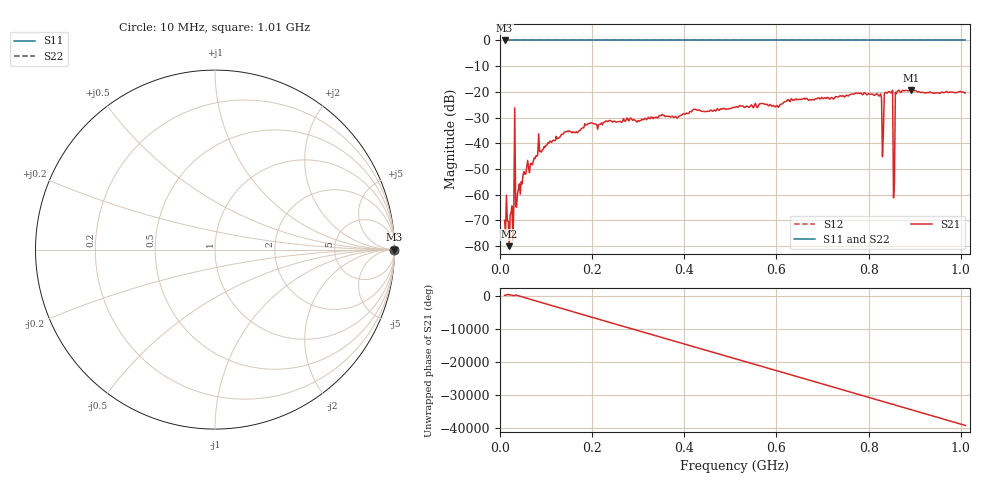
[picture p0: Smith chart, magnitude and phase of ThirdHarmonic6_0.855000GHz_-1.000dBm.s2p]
! 8/16/2025 4:17:39 AM
! C:\ANRITSUVNA\TEMP\TEMP.S2P
! CHANNEL.1
! TR.MEASUREMENT
! RAW.DATA
! RF.CORRECTION.OFF
! AVERAGING.OFF
! IF.BANDWIDTH: 5KHZ
! SWEEPTYPE:  FREQ.SWEEP(Linear)
! Reference Plane Port Info
! PORT:  PORT1  PORT2
! DISTANCE:  0  m  0  m
! TIME:  0  s  0  s
! PHASE.OFFSET:  0  deg.  0  deg.
! LOSS:  0  dB  0  dB
! REF.LOSS:  0  dB  0  dB
! REF.FREQ:  0  Hz  0  Hz
! Power Info
! POWER:  -20  dBm  -20  dBm
! EFF.POWER:  -20  dBm  -20  dBm
! SOURCE.ATTEN:  0  dB  0  dB
! TEST.ATTEN:  0  dB  0  dB
# GHZ S RI R 50.0
! FREQ.GHZ  S11RE  S11IM  S21RE  S21IM  S12RE  S12IM  S22RE  S22IM
!; PortSelection: Port_12
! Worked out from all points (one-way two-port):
!   501 points, 10 MHz to 1.01 GHz, reference 50 ohm
!   highest |S21| = -19.27 dB at 892 MHz (marker M1); lowest = -80.0 dB at 20 MHz (marker M2)
!   lowest |S11| = 0.0 dB at 10 MHz (marker M3)
!   |S11| at or under -10 dB: nowhere
!   |S22| runs from 0.0 to 0.0 dB; largest |S21 - S12| = 1.1
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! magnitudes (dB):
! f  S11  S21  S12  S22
! 10 MHz  0.0  -70.0  0.0  0.0
! 20 MHz  0.0  -80.0  0.0  0.0
! 24 MHz  0.0  -66.8  0.0  0.0
! 28 MHz  0.0  -77.7  0.0  0.0
! 36 MHz  0.0  -64.9  0.0  0.0
! 38 MHz  0.0  -59.6  0.0  0.0
! 82 MHz  0.0  -44.4  0.0  0.0
! 178 MHz  0.0  -34.1  0.0  0.0
! 344 MHz  0.0  -29.7  0.0  0.0
! 510 MHz  0.0  -26.0  0.0  0.0
! 678 MHz  0.0  -22.9  0.0  0.0
! 822 MHz  0.0  -21.6  0.0  0.0
! 828 MHz  0.0  -22.6  0.0  0.0
! 834 MHz  0.0  -20.7  0.0  0.0
! 838 MHz  0.0  -20.3  0.0  0.0
! 844 MHz  0.0  -19.9  0.0  0.0
! 848 MHz  0.0  -20.4  0.0  0.0
! 852 MHz  0.0  -19.3  0.0  0.0
! 858 MHz  0.0  -20.1  0.0  0.0
! 862 MHz  0.0  -19.9  0.0  0.0
! 892 MHz  0.0  -19.3  0.0  0.0
! 1.01 GHz  0.0  -20.4  0.0  0.0
